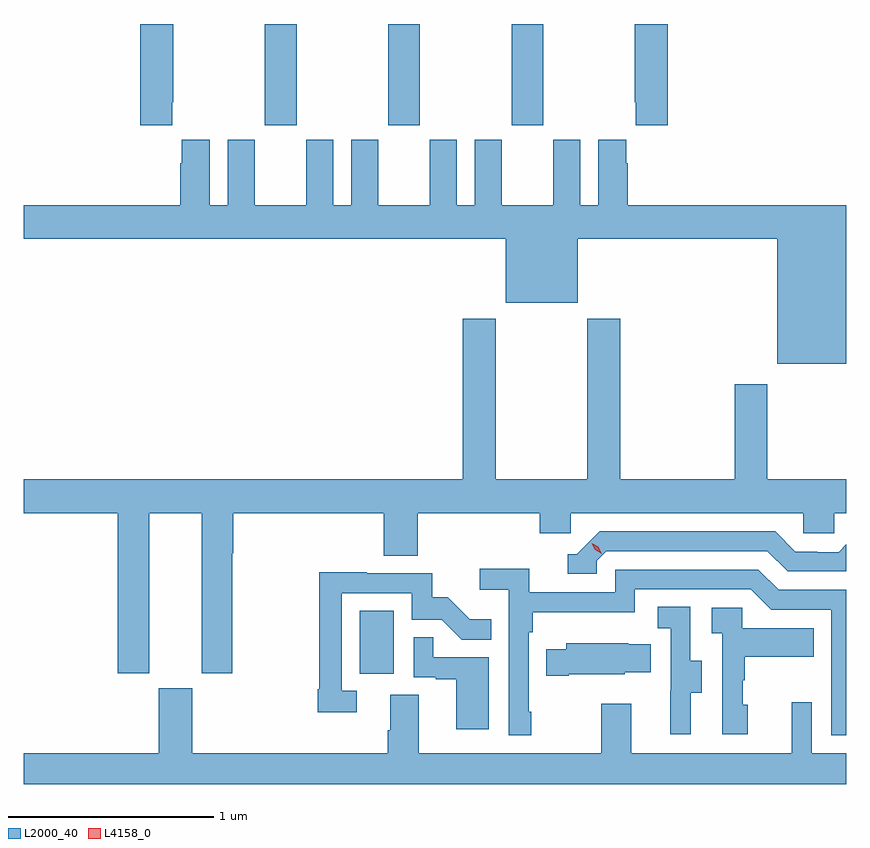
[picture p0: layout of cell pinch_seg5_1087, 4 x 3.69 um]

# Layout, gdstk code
import gdstk
lib = gdstk.Library(unit=1e-6, precision=1e-09)
def R(c, l, rs):  # rectangles x0, y0, x1, y1
    for r in rs: c.add(gdstk.rectangle(r[:2], r[2:], *l))
def A(c, l, x, y, w, h, nx, ny, dx, dy):  # array of equal rectangles
    R(c, l, [(x+i*dx, y+j*dy, x+i*dx+w, y+j*dy+h) for i in range(nx) for j in range(ny)])
def P(c, l, *ps):  # polygons
    for p in ps: c.add(gdstk.Polygon(p, *l))
L2000_40 = (2000, 40)
L4158_0 = (4158, 0)

pinch_seg5_1087 = lib.new_cell('pinch_seg5_1087')
A(pinch_seg5_1087, L2000_40, 808.879, 836.001, 0.155, 0.492, 3, 1, 0.6, 0)
R(pinch_seg5_1087, L2000_40, [(809.342,833.334,809.506,833.641)])
P(pinch_seg5_1087, L2000_40, [(808.429,836.113),(808.434,836.113),(808.434,836.493),(808.274,836.493),(808.274,836.001),(808.429,836.001)],
  [(810.839,836.493),(810.679,836.493),(810.679,836.113),(810.683,836.113),(810.683,836.001),(810.839,836.001)],
  [(811.707,835.612),(810.644,835.612),(810.644,835.817),(810.637,835.817),(810.637,835.93),(810.5,835.93),(810.5,835.612),(810.412,835.612),(810.412,835.93),(810.281,835.93),(810.281,835.612),(810.031,835.612),(810.031,835.93),(809.9,835.93),(809.9,835.612),(809.812,835.612),(809.812,835.93),(809.681,835.93),(809.681,835.612),(809.431,835.612),(809.431,835.93),(809.3,835.93),(809.3,835.612),(809.212,835.612),(809.212,835.93),(809.081,835.93),(809.081,835.612),(808.831,835.612),(808.831,835.93),(808.7,835.93),(808.7,835.612),(808.612,835.612),(808.612,835.93),(808.475,835.93),(808.475,835.817),(808.469,835.817),(808.469,835.612),(807.707,835.612),(807.707,835.448),(810.05,835.448),(810.05,835.139),(810.4,835.139),(810.4,835.448),(811.37,835.448),(811.37,834.842),(811.707,834.842)],
  [(810.215,834.018),(810.366,834.018),(810.366,834.116),(811.497,834.116),(811.497,834.018),(811.647,834.018),(811.647,834.116),(811.707,834.116),(811.707,834.28),(811.323,834.28),(811.323,834.742),(811.163,834.742),(811.163,834.28),(810.608,834.28),(810.608,835.06),(810.448,835.06),(810.448,834.28),(810.003,834.28),(810.003,835.06),(809.843,835.06),(809.843,834.28),(807.707,834.28),(807.707,834.116),(808.166,834.116),(808.166,833.337),(808.318,833.337),(808.318,834.116),(808.574,834.116),(808.574,833.337),(808.722,833.337),(808.722,833.92),(808.727,833.92),(808.727,834.116),(809.459,834.116),(809.459,833.908),(809.624,833.908),(809.624,834.116),(810.215,834.116)],
  [(810.492,833.883),(810.54,833.931),(811.323,833.931),(811.422,833.832),(811.707,833.832),(811.707,833.964),(811.669,833.925),(811.566,833.925),(811.566,833.928),(811.459,833.928),(811.36,834.027),(810.507,834.027),(810.396,833.916),(810.353,833.916),(810.353,833.82),(810.492,833.82)],
  [(810.175,833.149),(810.162,833.149),(810.162,833.537),(810.182,833.537),(810.182,833.633),(810.678,833.633),(810.678,833.745),(811.242,833.745),(811.341,833.646),(811.632,833.646),(811.632,833.037),(811.707,833.037),(811.707,833.742),(811.378,833.742),(811.279,833.841),(810.582,833.841),(810.582,833.73),(810.164,833.73),(810.164,833.846),(809.925,833.846),(809.925,833.744),(810.066,833.744),(810.066,833.037),(810.175,833.037)],
  [(809.326,833.253),(809.253,833.253),(809.253,833.727),(809.595,833.727),(809.595,833.598),(809.739,833.598),(809.837,833.5),(809.981,833.5),(809.981,833.599),(809.877,833.599),(809.77,833.706),(809.694,833.706),(809.694,833.823),(809.375,833.823),(809.375,833.828),(809.145,833.828),(809.145,833.26),(809.137,833.26),(809.137,833.148),(809.326,833.148)],
  [(810.949,833.242),(811.003,833.242),(811.003,833.397),(810.948,833.397),(810.948,833.66),(810.789,833.66),(810.789,833.557),(810.852,833.557),(810.852,833.253),(810.851,833.253),(810.851,833.04),(810.949,833.04)],
  [(811.228,833.184),(811.203,833.184),(811.203,833.303),(811.213,833.303),(811.213,833.417),(811.547,833.417),(811.547,833.557),(811.2,833.557),(811.2,833.655),(811.053,833.655),(811.053,833.531),(811.104,833.531),(811.104,833.04),(811.228,833.04)],
  [(809.968,833.415),(809.699,833.415),(809.699,833.513),(809.604,833.513),(809.604,833.319),(809.711,833.319),(809.711,833.307),(809.81,833.307),(809.81,833.064),(809.968,833.064)],
  [(810.358,833.333),(810.63,833.333),(810.63,833.342),(810.755,833.342),(810.755,833.479),(810.647,833.479),(810.647,833.482),(810.345,833.482),(810.345,833.455),(810.247,833.455),(810.247,833.326),(810.358,833.326)],
  [(811.707,832.948),(811.539,832.948),(811.539,833.197),(811.442,833.197),(811.442,832.948),(810.661,832.948),(810.661,833.188),(810.514,833.188),(810.514,832.948),(809.629,832.948),(809.629,833.234),(809.489,833.234),(809.489,833.06),(809.477,833.06),(809.477,832.948),(808.528,832.948),(808.528,833.265),(808.364,833.265),(808.364,832.948),(807.707,832.948),(807.707,832.799),(811.707,832.799)])
P(pinch_seg5_1087, L4158_0, [(810.517,833.918),(810.486,833.937),(810.47,833.97),(810.47,833.97),(810.47,833.97),(810.501,833.951),(810.517,833.919),(810.517,833.918)])

lib.write_gds('pinch_seg5_1087.gds')
